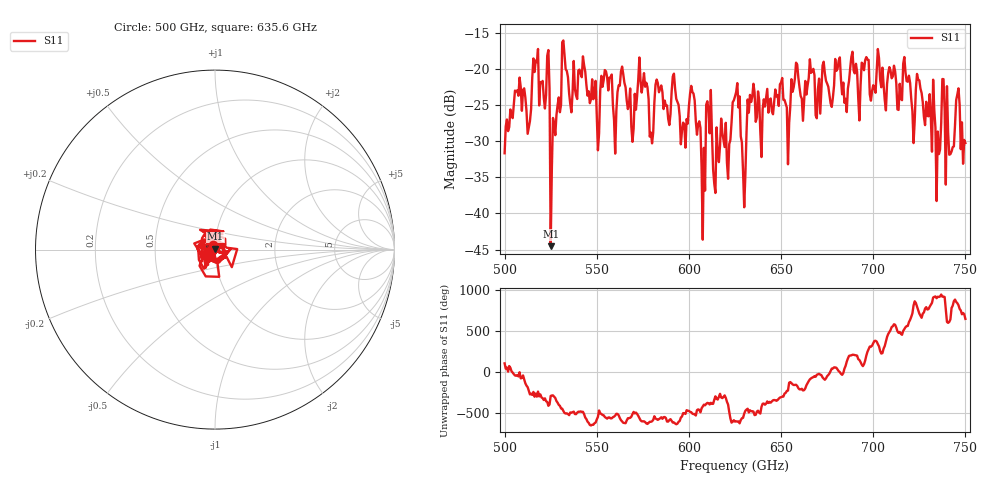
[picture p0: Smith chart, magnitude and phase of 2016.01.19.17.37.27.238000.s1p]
!Created with skrf (http://scikit-rf.org).
# GHz S RI R 50.0
!freq ReS11 ImS11
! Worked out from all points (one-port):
!   401 points, 500 GHz to 750 GHz, reference 50 ohm
!   lowest |S11| = -44.5 dB at 525 GHz (marker M1), VSWR 1.01, Z = 50.2 + j0.572 ohm
!   |S11| at or under -10 dB: start of sweep to end of sweep
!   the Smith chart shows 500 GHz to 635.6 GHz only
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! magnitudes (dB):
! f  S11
! 500 GHz  -31.7
! 506.9 GHz  -22.9
! 513.1 GHz  -28.1
! 516.9 GHz  -18.8
! 523.1 GHz  -18.2
! 525 GHz  -44.5
! 526.2 GHz  -26.8
! 531.2 GHz  -16.3
! 550 GHz  -26.5
! 562.5 GHz  -22.3
! 570 GHz  -28.3
! 576.2 GHz  -22.4
! 580 GHz  -30.3
! 583.1 GHz  -21.9
! 593.8 GHz  -24.5
! 601.9 GHz  -23.2
! 607.5 GHz  -43.6
! 610.6 GHz  -25.7
! 614.4 GHz  -37.2
! 625 GHz  -23.8
! 629.4 GHz  -34.2
! 634.4 GHz  -23.8
! 656.2 GHz  -23.1
! 687.5 GHz  -19.9
! 718.8 GHz  -21.7
! 735 GHz  -28.7
! 745.6 GHz  -23.5
! 750 GHz  -30.2
